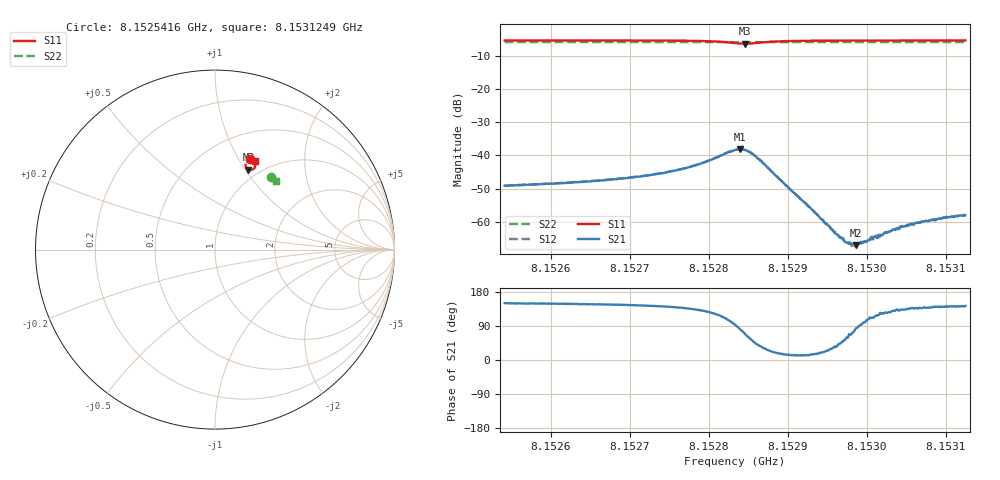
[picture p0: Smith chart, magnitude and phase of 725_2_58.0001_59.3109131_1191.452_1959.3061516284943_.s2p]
#  HZ  S  RI  R  50.00
! Rohde & Schwarz Vector Network Analyzer
! Rohde-Schwarz,ZNB20-2Port,1311601062101988,3.16
! Created: UTC 3/21/2024, 1:22:51 AM
! freq[Hz]  re:S11  im:S11  re:S21  im:S21  re:S12  im:S12  re:S22  im:S22
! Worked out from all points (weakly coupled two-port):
!   401 points, 8.1525416 GHz to 8.1531249 GHz, reference 50 ohm
!   highest |S21| = -38.19 dB at 8.1528391 GHz (marker M1); lowest = -67.1 dB at 8.1529864 GHz (marker M2)
!   lowest |S11| = -6.3 dB at 8.1528464 GHz (marker M3), VSWR 2.87, Z = 44.5 + j51.8 ohm
!   |S11| at or under -10 dB: nowhere
!   |S22| runs from -5.9 to -5.8 dB; largest |S21 - S12| = 0.00039
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8.15254161e9  0.1929 0.5048  -0.00302 0.00174  -0.00302 0.00179  0.313 0.4041
8.15263931e9  0.2015 0.5011  -0.00331 0.00214  -0.00334 0.00221  0.3179 0.4001
8.1526816e9  0.2059 0.4991  -0.00362 0.00246  -0.00364 0.00251  0.32 0.3984
8.15273702e9  0.213 0.4945  -0.00416 0.00326  -0.00415 0.00335  0.3226 0.3959
8.15277785e9  0.22 0.4869  -0.00477 0.0048  -0.00473 0.00491  0.3248 0.3938
8.15283326e9  0.2108 0.447  -0.000695 0.012  -0.000378 0.0122  0.3262 0.3903
8.1528391e9  0.2005 0.4437  0.00166 0.0122  0.00176 0.0122  0.3262 0.39
8.15284639e9  0.1863 0.4461  0.00462 0.0111  0.00462 0.0111  0.3259 0.3901
8.15285514e9  0.1739 0.4574  0.00658 0.00825  0.00677 0.00821  0.3261 0.3905
8.15286389e9  0.1704 0.4709  0.00685 0.00536  0.00707 0.00525  0.3267 0.3907
8.15293096e9  0.1958 0.4982  0.00146 0.000389  0.00147 0.000354  0.3311 0.3886
8.1529645e9  0.2025 0.4982  0.000453 0.000416  0.000469 0.000364  0.333 0.3872
8.15297471e9  0.2043 0.4981  0.000243 0.000415  0.000253 0.000431  0.3334 0.3865
8.152982e9  0.2054 0.4981  0.00014 0.000431  0.000126 0.000413  0.3338 0.3864
8.15298638e9  0.206 0.4978  4.91e-05 0.000436  6.28e-05 0.000464  0.3339 0.3861
8.15300096e9  0.208 0.4975  -0.000143 0.000495  -0.000129 0.000506  0.3347 0.3854
8.15300388e9  0.2083 0.4974  -0.00021 0.000506  -0.000171 0.000492  0.3348 0.3853
8.15302867e9  0.2112 0.4967  -0.000421 0.000568  -0.000435 0.000563  0.3359 0.3842
8.15304325e9  0.2128 0.4963  -0.000562 0.000615  -0.00059 0.000589  0.3368 0.3836
8.15307242e9  0.2156 0.4954  -0.00076 0.000657  -0.000756 0.000692  0.3381 0.3824
8.15309866e9  0.2181 0.4946  -0.000884 0.000743  -0.000894 0.000729  0.3394 0.3812
8.15312491e9  0.2202 0.4939  -0.000989 0.000756  -0.000983 0.000792  0.3406 0.3801
